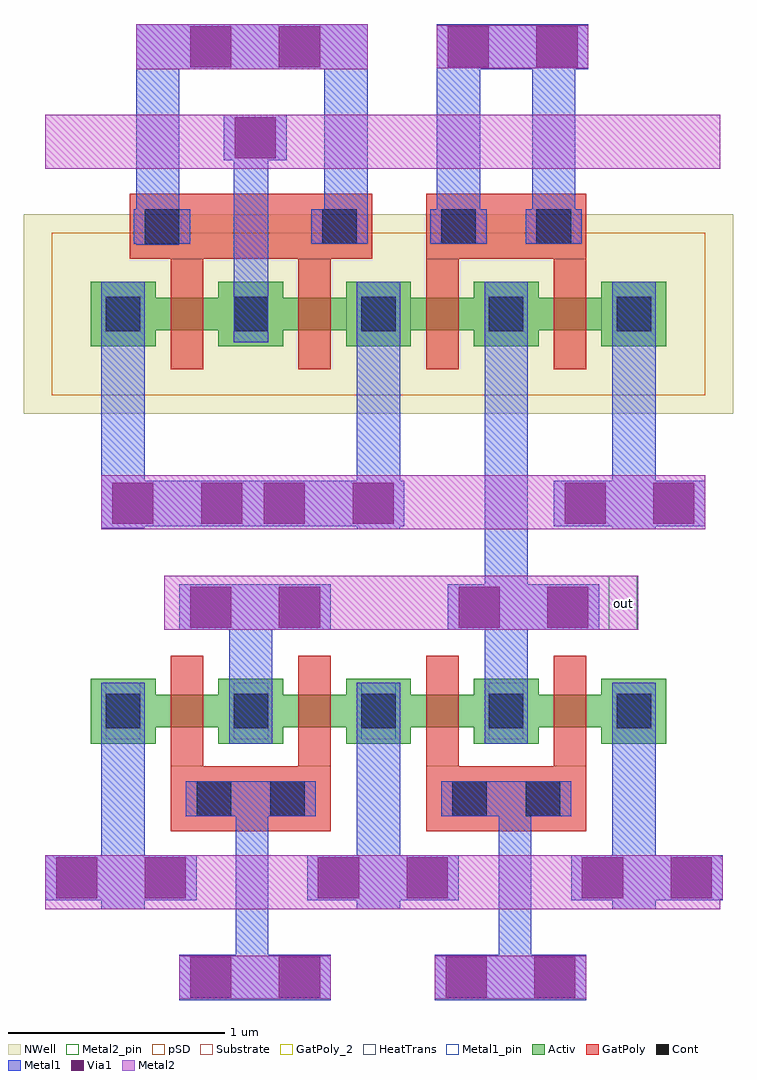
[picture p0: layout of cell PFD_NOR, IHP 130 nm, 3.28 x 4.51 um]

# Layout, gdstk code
import gdstk
lib = gdstk.Library(unit=1e-6, precision=1e-09)
def R(c, l, rs):  # rectangles x0, y0, x1, y1
    for r in rs: c.add(gdstk.rectangle(r[:2], r[2:], *l))
def A(c, l, x, y, w, h, nx, ny, dx, dy):  # array of equal rectangles
    R(c, l, [(x+i*dx, y+j*dy, x+i*dx+w, y+j*dy+h) for i in range(nx) for j in range(ny)])
Activ = (1, 0)
GatPoly = (5, 0)
GatPoly_2 = (5, 2)
Cont = (6, 0)
Metal1 = (8, 0)
Metal1_pin = (8, 2)
Metal2 = (10, 0)
Metal2_pin = (10, 2)
pSD = (14, 0)
Via1 = (19, 0)
NWell = (31, 0)
Substrate = (40, 0)
HeatTrans = (51, 0)

pmos = lib.new_cell('pmos')
A(pmos, Activ, 0, 0, 0.3, 0.3, 3, 1, 0.59, 0)
R(pmos, Activ, [(0,0.075,1.48,0.225)])
R(pmos, GatPoly, [(0.37,-0.105,0.52,0.405), (0.37,-0.105,0.52,0.405), (0.96,-0.105,1.11,0.405)])
A(pmos, Cont, 0.07, 0.07, 0.16, 0.16, 3, 1, 0.59, 0)
R(pmos, Metal1, [(0.07,0.02,0.23,0.28), (0.07,0.02,0.23,0.28), (0.66,0.02,0.82,0.28), (0.66,0.02,0.82,0.28), (1.25,0.02,1.41,0.28)])
R(pmos, pSD, [(-0.18,-0.225,1.66,0.525)])
R(pmos, NWell, [(-0.31,-0.31,1.79,0.61)])
R(pmos, Substrate, [(1.18,0,1.48,0.3)])
R(pmos, HeatTrans, [(0.37,-0.105,0.52,0.405), (0.96,-0.105,1.11,0.405)])
pmos.add(gdstk.Label('pmos', (0.445,0.15), layer=63, texttype=0))
pmos.add(gdstk.Label('pmos', (0.445,0.15), layer=51, texttype=0))
pmos.add(gdstk.Label('pmos', (1.035,0.15), layer=51, texttype=0))

nmos = lib.new_cell('nmos')
A(nmos, Activ, 0, 0, 0.3, 0.3, 3, 1, 0.59, 0)
R(nmos, Activ, [(0,0.075,1.48,0.225)])
R(nmos, GatPoly, [(0.37,-0.105,0.52,0.405), (0.96,-0.105,1.11,0.405)])
R(nmos, GatPoly_2, [(0.37,-0.105,0.52,0.405)])
A(nmos, Cont, 0.07, 0.07, 0.16, 0.16, 3, 1, 0.59, 0)
A(nmos, Metal1, 0.07, 0.02, 0.16, 0.26, 3, 1, 0.59, 0)
R(nmos, Metal1_pin, [(0.07,0.02,0.23,0.28), (0.66,0.02,0.82,0.28)])
R(nmos, HeatTrans, [(0.37,-0.105,0.52,0.405), (0.96,-0.105,1.11,0.405)])
nmos.add(gdstk.Label('nmos', (0.445,0.15), layer=63, texttype=0))
nmos.add(gdstk.Label('nmos', (0.445,0.15), layer=51, texttype=0))
nmos.add(gdstk.Label('nmos', (1.035,0.15), layer=51, texttype=0))

via_3 = lib.new_cell('Via$3')
R(via_3, GatPoly, [(-0.32,-0.15,0.32,0.15)])
R(via_3, Cont, [(-0.25,-0.08,-0.09,0.08), (0.09,-0.08,0.25,0.08)])
R(via_3, Metal1, [(-0.3,-0.08,0.3,0.08)])

via = lib.new_cell('Via')
R(via, Metal1, [(-0.35,-0.105,0.35,0.105)])
R(via, Metal2, [(-0.35,-0.1,0.35,0.1)])
R(via, Via1, [(-0.3,-0.095,-0.11,0.095), (0.11,-0.095,0.3,0.095)])

via_2 = lib.new_cell('Via$2')
R(via_2, GatPoly, [(-0.15,-0.15,0.15,0.15)])
R(via_2, Cont, [(-0.08,-0.08,0.08,0.08)])
R(via_2, Metal1, [(-0.13,-0.08,0.13,0.08)])

via_4 = lib.new_cell('Via$4')
R(via_4, Metal1, [(-0.145,-0.105,0.145,0.105)])
R(via_4, Metal2, [(-0.145,-0.1,0.145,0.1)])
R(via_4, Via1, [(-0.095,-0.095,0.095,0.095)])

pfd_nor = lib.new_cell('PFD_NOR')
R(pfd_nor, GatPoly, [(-0.11,-1.31,0.63,-1.01), (1.07,-1.31,1.81,-1.01), (-0.26,1.335,0.78,1.635), (1.07,1.335,1.81,1.635)])
R(pfd_nor, Metal1, [(0.18,0.95,0.34,1.635), (0.18,1.635,0.34,1.995), (-0.27,2.235,0.8,2.42)])
R(pfd_nor, Metal2, [(-0.69,-1.67,-0.5,-1.42), (2.31,-1.67,2.43,-1.42), (2.13,0.085,2.36,0.335), (-0.69,1.75,-0.5,2), (2.31,1.75,2.43,2), (-0.27,2.21,0.8,2.42)])
R(pfd_nor, Metal2_pin, [(1.915,-0.38,2.045,-0.13)])
pfd_nor.add(gdstk.FlexPath([(-0.33,-0.625),(-0.33,-1.67),(-0.33,-1.67)], 0.2, ends="flush", simple_path=True, layer=8, datatype=0))  # Metal1
pfd_nor.add(gdstk.FlexPath([(0.85,-0.625),(0.85,-1.67)], 0.2, ends="flush", simple_path=True, layer=8, datatype=0))  # Metal1
pfd_nor.add(gdstk.FlexPath([(0.26,-0.905),(0.26,-0.38)], 0.2, ends="flush", simple_path=True, layer=8, datatype=0))  # Metal1
pfd_nor.add(gdstk.FlexPath([(1.44,-0.905),(1.44,-0.38)], 0.2, ends="flush", simple_path=True, layer=8, datatype=0))  # Metal1
pfd_nor.add(gdstk.FlexPath([(1.22,1.405),(1.22,2.23)], 0.2, ends="flush", simple_path=True, layer=8, datatype=0))  # Metal1
pfd_nor.add(gdstk.FlexPath([(-0.33,1.23),(-0.33,0.09),(-0.33,0.09)], 0.2, ends="flush", simple_path=True, layer=8, datatype=0))  # Metal1
pfd_nor.add(gdstk.FlexPath([(0.85,1.23),(0.85,0.085)], 0.2, ends="flush", simple_path=True, layer=8, datatype=0))  # Metal1
pfd_nor.add(gdstk.FlexPath([(2.03,1.23),(2.03,0.085)], 0.2, ends="flush", simple_path=True, layer=8, datatype=0))  # Metal1
pfd_nor.add(gdstk.FlexPath([(1.44,1.23),(1.44,-0.38)], 0.2, ends="flush", simple_path=True, layer=8, datatype=0))  # Metal1
pfd_nor.add(gdstk.FlexPath([(2.03,-0.625),(2.03,-1.67)], 0.2, ends="flush", simple_path=True, layer=8, datatype=0))  # Metal1
pfd_nor.add(gdstk.FlexPath([(0.265,-1.08),(0.265,-1.89)], 0.15, ends="flush", simple_path=True, layer=8, datatype=0))  # Metal1
pfd_nor.add(gdstk.FlexPath([(1.48,-1.08),(1.48,-1.89)], 0.15, ends="flush", simple_path=True, layer=8, datatype=0))  # Metal1
pfd_nor.add(gdstk.FlexPath([(1.22,1.41),(1.22,2.235)], 0.2, ends="flush", simple_path=True, layer=8, datatype=0))  # Metal1
pfd_nor.add(gdstk.FlexPath([(1.66,1.41),(1.66,2.235)], 0.2, ends="flush", simple_path=True, layer=8, datatype=0))  # Metal1
pfd_nor.add(gdstk.FlexPath([(0.7,1.41),(0.7,2.235)], 0.2, ends="flush", simple_path=True, layer=8, datatype=0))  # Metal1
pfd_nor.add(gdstk.FlexPath([(-0.17,1.41),(-0.17,2.235)], 0.2, ends="flush", simple_path=True, layer=8, datatype=0))  # Metal1
pfd_nor.add(gdstk.FlexPath([(-0.17,1.41),(-0.17,2.235)], 0.2, ends="flush", simple_path=True, layer=8, datatype=0))  # Metal1
pfd_nor.add(gdstk.FlexPath([(-0.17,1.4),(-0.17,2.225)], 0.2, ends="flush", simple_path=True, layer=8, datatype=0))  # Metal1
pfd_nor.add(gdstk.FlexPath([(-0.14,0.21),(2.05,0.21)], 0.25, ends="flush", simple_path=True, layer=10, datatype=0))  # Metal2
pfd_nor.add(gdstk.FlexPath([(-0.14,0.21),(-0.43,0.21)], 0.25, ends="flush", simple_path=True, layer=10, datatype=0))  # Metal2
pfd_nor.add(gdstk.FlexPath([(2.05,0.21),(2.13,0.21)], 0.25, ends="flush", simple_path=True, layer=10, datatype=0))  # Metal2
pfd_nor.add(gdstk.FlexPath([(-0.14,-0.255),(2.05,-0.255)], 0.25, ends="flush", simple_path=True, layer=10, datatype=0))  # Metal2
pfd_nor.add(gdstk.FlexPath([(-0.5,-1.545),(2.31,-1.545)], 0.25, ends="flush", simple_path=True, layer=10, datatype=0))  # Metal2
pfd_nor.add(gdstk.FlexPath([(-0.5,1.875),(2.31,1.875)], 0.25, ends="flush", simple_path=True, layer=10, datatype=0))  # Metal2
pfd_nor.add(gdstk.Reference(pmos, (-0.48,0.93)))
pfd_nor.add(gdstk.Reference(pmos, (0.7,0.93)))
pfd_nor.add(gdstk.Reference(nmos, (-0.48,-0.905)))
pfd_nor.add(gdstk.Reference(nmos, (0.7,-0.905)))
pfd_nor.add(gdstk.Reference(via_3, (1.44,-1.16)))
pfd_nor.add(gdstk.Reference(via, (1.52,-0.275)))
pfd_nor.add(gdstk.Reference(via, (0.28,-0.275)))
pfd_nor.add(gdstk.Reference(via, (-0.08,0.205)))
pfd_nor.add(gdstk.Reference(via, (0.62,0.205)))
pfd_nor.add(gdstk.Reference(via, (2.01,0.205)))
pfd_nor.add(gdstk.Reference(via, (0.87,-1.525)))
pfd_nor.add(gdstk.Reference(via, (2.09,-1.525)))
pfd_nor.add(gdstk.Reference(via, (-0.34,-1.525)))
pfd_nor.add(gdstk.Reference(via, (1.46,-1.985)))
pfd_nor.add(gdstk.Reference(via, (0.28,-1.985)))
pfd_nor.add(gdstk.Reference(via_3, (0.26,-1.16)))
pfd_nor.add(gdstk.Reference(via_2, (0.67,1.485)))
pfd_nor.add(gdstk.Reference(via_2, (1.22,1.485)))
pfd_nor.add(gdstk.Reference(via_2, (1.66,1.485)))
pfd_nor.add(gdstk.Reference(via_2, (-0.15,1.485)))
pfd_nor.add(gdstk.Reference(via, (1.47,2.315)))
pfd_nor.add(gdstk.Reference(via, (0.28,2.315)))
pfd_nor.add(gdstk.Reference(via_4, (0.28,1.895)))
pfd_nor.add(gdstk.Label('out', (1.98,-0.26), layer=10, texttype=25))

lib.write_gds('PFD_NOR.gds')
